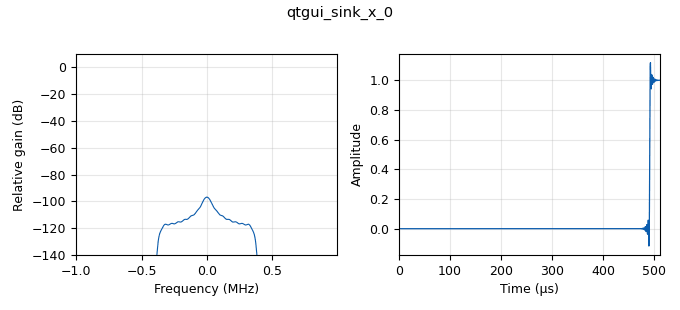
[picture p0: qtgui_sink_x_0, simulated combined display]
options:
  parameters:
    generate_options: qt_gui
    id: oposec_sdr
    output_language: python
    title: Not titled yet
  states: {}

blocks:
- name: aaa
  id: variable
  parameters:
    value: '"00"'
  states: {}
- name: bbb
  id: variable
  parameters:
    value: '"00"'
  states: {}
- name: device
  id: variable
  parameters:
    value: '"1101"'
  states: {}
- name: message
  id: variable
  parameters:
    value: preamble+device+preamble2+onoff+preamble3+aaa+preamble4+bbb
  states: {}
- name: onoff
  id: variable
  parameters:
    value: '"01"'
  states: {}
- name: preamble
  id: variable
  parameters:
    value: '"10110110110110110110110110110110110110"'
  states: {}
- name: preamble2
  id: variable
  parameters:
    value: '"10110"'
  states: {}
- name: preamble3
  id: variable
  parameters:
    value: '"011011"'
  states: {}
- name: preamble4
  id: variable
  parameters:
    value: '"10"'
  states: {}
- name: samp_rate
  id: variable
  parameters:
    value: 2e6
  states: {}
- name: blocks_char_to_float_1
  id: blocks_char_to_float
  parameters:
    scale: '1'
  states: {}
- name: blocks_float_to_complex_0
  id: blocks_float_to_complex
  parameters: {}
  states: {}
- name: blocks_repeat_0
  id: blocks_repeat
  parameters:
    interp: '500'
    type: byte
  states: {}
- name: blocks_unpack_k_bits_bb_0
  id: blocks_unpack_k_bits_bb
  parameters:
    k: '1'
  states: {}
- name: blocks_vector_source_x_0
  id: blocks_vector_source_x
  parameters:
    repeat: 'True'
    type: byte
    vector: 'list(map(lambda num: int(num,10), message))'
  states: {}
- name: digital_map_bb_0
  id: digital_map_bb
  parameters:
    map: '[0,1]'
  states: {}
- name: osmosdr_sink_0
  id: osmosdr_sink
  parameters:
    args: '"hackrf=0"'
    bb_gain0: '20'
    freq0: 433.6e6
    gain0: '10'
    if_gain0: '20'
    sample_rate: samp_rate
    sync: sync
    type: fc32
  states: {}
- name: qtgui_sink_x_0
  id: qtgui_sink_x
  parameters:
    bw: samp_rate
    fc: '0'
    fftsize: '1024'
    type: float
  states: {}
- name: rational_resampler_xxx_1
  id: rational_resampler_xxx
  parameters:
    decim: '157'
    interp: '400'
    type: fff
  states: {}

connections:
- [blocks_char_to_float_1, '0', rational_resampler_xxx_1, '0']
- [blocks_float_to_complex_0, '0', osmosdr_sink_0, '0']
- [blocks_repeat_0, '0', digital_map_bb_0, '0']
- [blocks_unpack_k_bits_bb_0, '0', blocks_char_to_float_1, '0']
- [blocks_vector_source_x_0, '0', blocks_repeat_0, '0']
- [digital_map_bb_0, '0', blocks_unpack_k_bits_bb_0, '0']
- [rational_resampler_xxx_1, '0', blocks_float_to_complex_0, '0']
- [rational_resampler_xxx_1, '0', qtgui_sink_x_0, '0']

metadata:
  file_format: 1
  grc_version: 3.10.5.1
